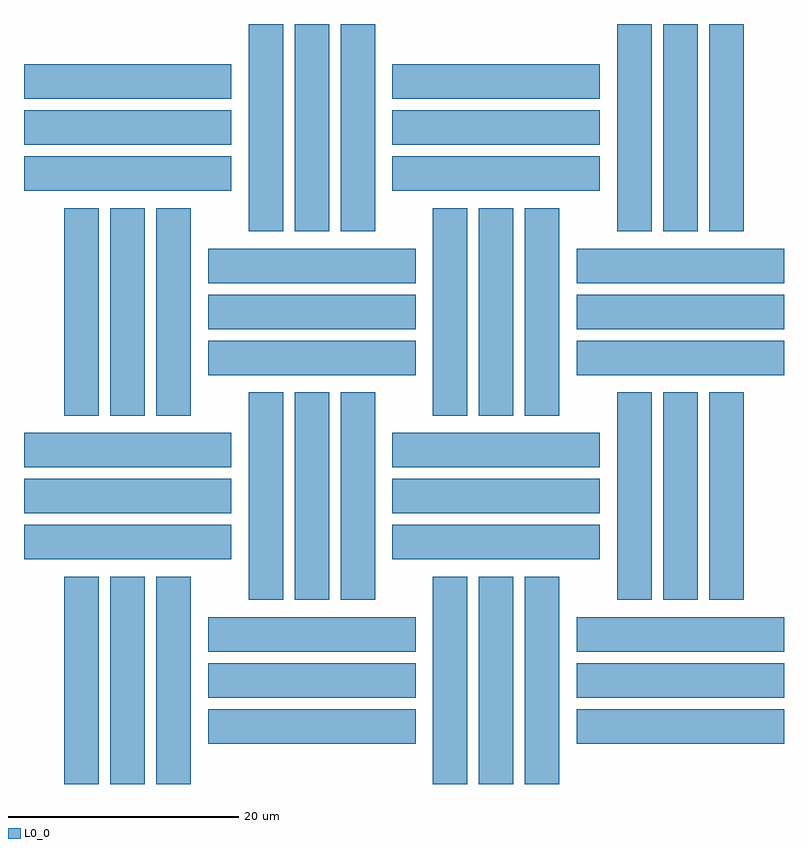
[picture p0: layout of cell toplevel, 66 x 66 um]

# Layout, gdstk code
import gdstk
lib = gdstk.Library(unit=1e-6, precision=1e-09)
def R(c, l, rs):  # rectangles x0, y0, x1, y1
    for r in rs: c.add(gdstk.rectangle(r[:2], r[2:], *l))
def A(c, l, x, y, w, h, nx, ny, dx, dy):  # array of equal rectangles
    R(c, l, [(x+i*dx, y+j*dy, x+i*dx+w, y+j*dy+h) for i in range(nx) for j in range(ny)])
L0_0 = (0, 0)

toplevel = lib.new_cell('toplevel')
A(toplevel, L0_0, -5.5, -9, 3, 18, 3, 2, 4, 32)
A(toplevel, L0_0, 26.5, -9, 3, 18, 3, 2, 4, 32)
A(toplevel, L0_0, 7, -5.5, 18, 3, 1, 3, 0, 4)
A(toplevel, L0_0, 39, -5.5, 18, 3, 1, 3, 0, 4)
A(toplevel, L0_0, 10.5, 7, 3, 18, 3, 2, 4, 32)
A(toplevel, L0_0, 42.5, 7, 3, 18, 3, 2, 4, 32)
A(toplevel, L0_0, -9, 10.5, 18, 3, 1, 3, 0, 4)
A(toplevel, L0_0, 23, 10.5, 18, 3, 1, 3, 0, 4)
A(toplevel, L0_0, 7, 26.5, 18, 3, 1, 3, 0, 4)
A(toplevel, L0_0, 39, 26.5, 18, 3, 1, 3, 0, 4)
A(toplevel, L0_0, -9, 42.5, 18, 3, 1, 3, 0, 4)
A(toplevel, L0_0, 23, 42.5, 18, 3, 1, 3, 0, 4)

lib.write_gds('toplevel.gds')
